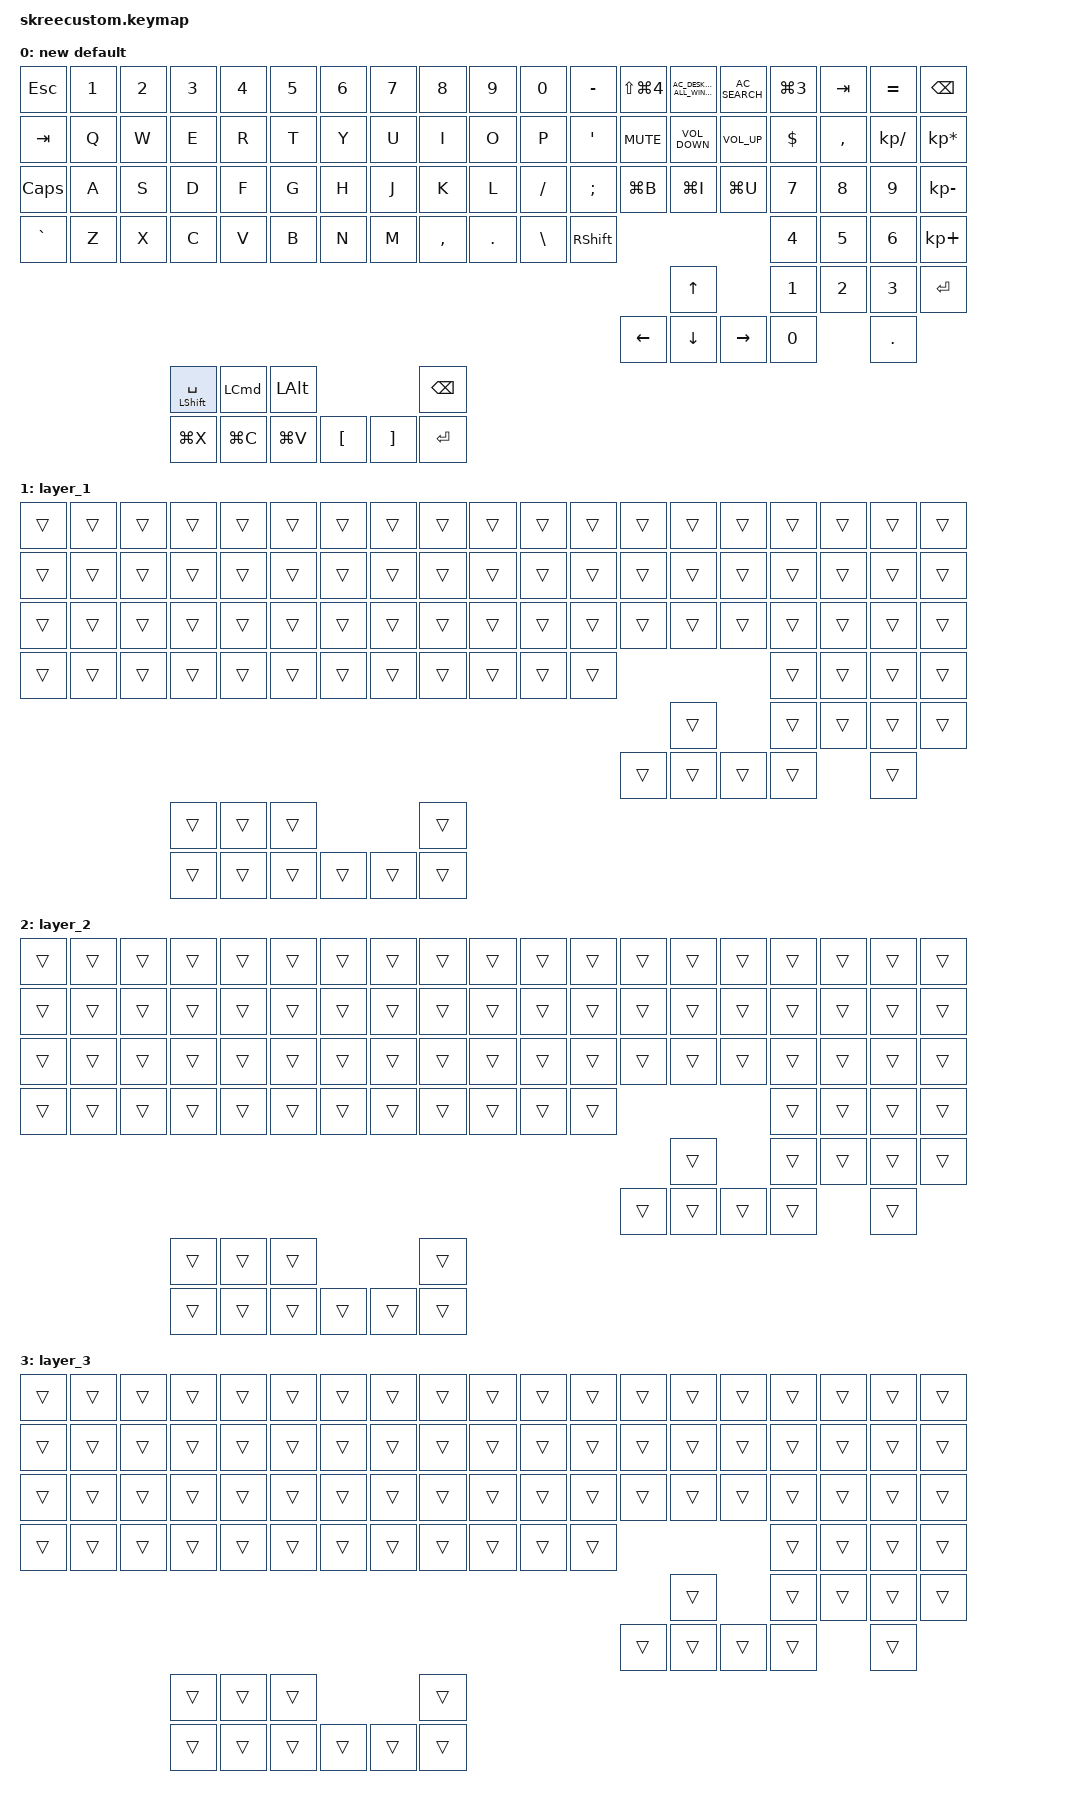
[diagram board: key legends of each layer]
/*
 * Copyright (c) 2020 The ZMK Contributors
 *
 * SPDX-License-Identifier: MIT
 */

#include <input/processors.dtsi>
#include <dt-bindings/zmk/input_transform.h>
#include <behaviors.dtsi>
#include <dt-bindings/zmk/keys.h>

/ {
    keymap {
        compatible = "zmk,keymap";

        new-default {
            bindings = <
&kp ESC    &kp N1  &kp N2  &kp N3                &kp N4            &kp N5          &kp N6            &kp N7             &kp N8         &kp N9      &kp N0         &kp MINUS          &kp LS(LG(NUMBER_4))  &kp C_AC_DESKTOP_SHOW_ALL_WINDOWS  &kp C_AC_SEARCH    &kp LG(NUMBER_3)  &kp TAB    &kp EQUAL      &kp BSPC
&kp TAB    &kp Q   &kp W   &kp E                 &kp R             &kp T           &kp Y             &kp U              &kp I          &kp O       &kp P          &kp SQT            &kp K_MUTE            &kp C_VOLUME_DOWN                  &kp C_VOLUME_UP    &kp DOLLAR        &kp COMMA  &kp KP_DIVIDE  &kp KP_MULTIPLY
&kp CAPS   &kp A   &kp S   &kp D                 &kp F             &kp G           &kp H             &kp J              &kp K          &kp L       &kp SLASH      &kp SEMICOLON      &kp LG(B)             &kp LG(I)                          &kp LG(U)          &kp N7            &kp N8     &kp N9         &kp KP_SUBTRACT
&kp GRAVE  &kp Z   &kp X   &kp C                 &kp V             &kp B           &kp N             &kp M              &kp COMMA      &kp PERIOD  &kp BACKSLASH  &kp RIGHT_SHIFT                                                                                &kp N4            &kp N5     &kp N6         &kp KP_PLUS
                                                                                                                                                                                                           &kp UP                                                &kp N1            &kp N2     &kp N3         &kp RET
                                                                                                                                                                                     &kp LEFT              &kp DOWN                           &kp RIGHT          &kp N0                       &kp DOT
                           &mt LEFT_SHIFT SPACE  &kp LEFT_COMMAND  &kp LEFT_ALT                                         &kp BACKSPACE
                           &kp LG(X)             &kp LG(C)         &kp LG(V)       &kp LEFT_BRACKET  &kp RIGHT_BRACKET  &kp ENTER
            >;

            label = "new default";
        };

        layer_1 {
            bindings = <
&trans  &trans  &trans  &trans  &trans  &trans    &trans  &trans  &trans  &trans  &trans  &trans    &trans  &trans  &trans    &trans  &trans  &trans  &trans
&trans  &trans  &trans  &trans  &trans  &trans    &trans  &trans  &trans  &trans  &trans  &trans    &trans  &trans  &trans    &trans  &trans  &trans  &trans
&trans  &trans  &trans  &trans  &trans  &trans    &trans  &trans  &trans  &trans  &trans  &trans    &trans  &trans  &trans    &trans  &trans  &trans  &trans
&trans  &trans  &trans  &trans  &trans  &trans    &trans  &trans  &trans  &trans  &trans  &trans                              &trans  &trans  &trans  &trans
                                                                                                            &trans            &trans  &trans  &trans  &trans
                                                                                                    &trans  &trans  &trans    &trans          &trans
                        &trans  &trans  &trans                    &trans
                        &trans  &trans  &trans    &trans  &trans  &trans
            >;
        };

        layer_2 {
            bindings = <
&trans  &trans  &trans  &trans  &trans  &trans    &trans  &trans  &trans  &trans  &trans  &trans    &trans  &trans  &trans    &trans  &trans  &trans  &trans
&trans  &trans  &trans  &trans  &trans  &trans    &trans  &trans  &trans  &trans  &trans  &trans    &trans  &trans  &trans    &trans  &trans  &trans  &trans
&trans  &trans  &trans  &trans  &trans  &trans    &trans  &trans  &trans  &trans  &trans  &trans    &trans  &trans  &trans    &trans  &trans  &trans  &trans
&trans  &trans  &trans  &trans  &trans  &trans    &trans  &trans  &trans  &trans  &trans  &trans                              &trans  &trans  &trans  &trans
                                                                                                            &trans            &trans  &trans  &trans  &trans
                                                                                                    &trans  &trans  &trans    &trans          &trans
                        &trans  &trans  &trans                    &trans
                        &trans  &trans  &trans    &trans  &trans  &trans
            >;
        };

        layer_3 {
            bindings = <
&trans  &trans  &trans  &trans  &trans  &trans    &trans  &trans  &trans  &trans  &trans  &trans    &trans  &trans  &trans    &trans  &trans  &trans  &trans
&trans  &trans  &trans  &trans  &trans  &trans    &trans  &trans  &trans  &trans  &trans  &trans    &trans  &trans  &trans    &trans  &trans  &trans  &trans
&trans  &trans  &trans  &trans  &trans  &trans    &trans  &trans  &trans  &trans  &trans  &trans    &trans  &trans  &trans    &trans  &trans  &trans  &trans
&trans  &trans  &trans  &trans  &trans  &trans    &trans  &trans  &trans  &trans  &trans  &trans                              &trans  &trans  &trans  &trans
                                                                                                            &trans            &trans  &trans  &trans  &trans
                                                                                                    &trans  &trans  &trans    &trans          &trans
                        &trans  &trans  &trans                    &trans
                        &trans  &trans  &trans    &trans  &trans  &trans
            >;
        };
    };
};
